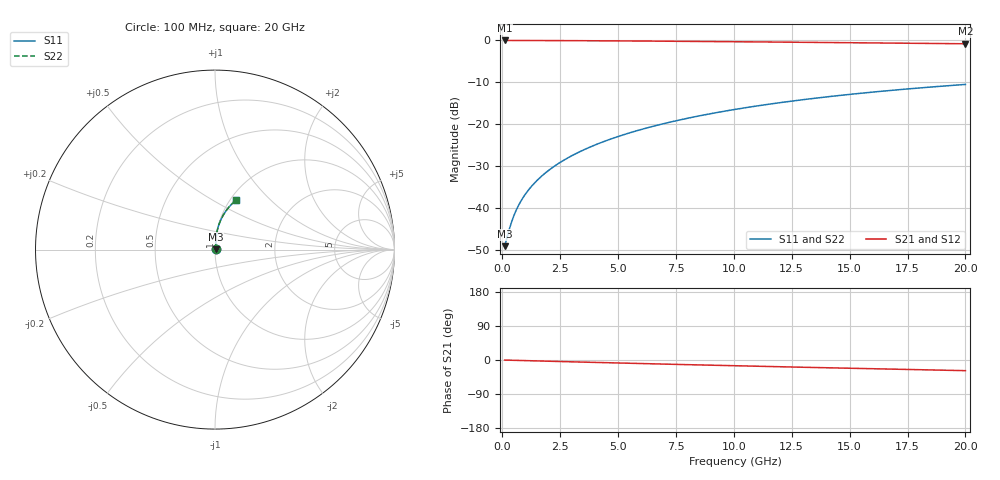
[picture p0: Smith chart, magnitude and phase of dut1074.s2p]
! Touchstone file exported from HFSS 2024.1.0
!  File:  C:/UserFiles/LocalFiles/RDL_TSV_Batchsim/temp_RDL_bottom_1074_1780052911.aedt
!  Generated:  07:11:15 PM May 29, 2026
!  Design:  RDL_bottom
!  Project:  temp_RDL_bottom_1074_1780052911
!  Setup:  Setup1
!  Solution:  Sweep
! Variables:
!  dtsv = 10.80580581um
!  hbump = 3um
!  htsv = 94.52um
!  ldown = 347.28um
!  lrdl = 100um
!  p = 40
!  p1 = 51.48um
!  rhole = 1um
!  t = 450um
!  tdown = 2.03um
!  trdl = 3.915915916um
!  wdown = 21.7um
!  wrdl = 20um
# GHz S MA R 50.000000
! Terminal data exported
! Port[1] = RDL1_T1
! Port[2] = RDL1_T2
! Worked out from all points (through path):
!   200 points, 100 MHz to 20 GHz, reference 50 ohm
!   highest |S21| = -0.03 dB at 100 MHz (marker M1); lowest = -0.8 dB at 20 GHz (marker M2)
!   group delay of S21, straight-line fit = 3.88 ps
!   lowest |S11| = -49.1 dB at 100 MHz (marker M3), VSWR 1.01, Z = 50.3 + j0.152 ohm
!   |S11| at or under -10 dB: start of sweep to end of sweep
!   |S22| runs from -49.1 to -10.5 dB; largest |S21 - S12| = 2.1e-15
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0.1  0.003517 25.4  0.9968 -0.2  0.9968 -0.2  0.003517 25.4
! Gamma 0 0 0 0
! Port Impedance 50 0 50 0
0.3  0.005561 53.4  0.9966 -0.5  0.9966 -0.5  0.005561 53.4
0.4  0.006819 60.0  0.9965 -0.7  0.9965 -0.7  0.006819 60.0
0.5  0.008116 64.4  0.9964 -0.8  0.9964 -0.8  0.008116 64.4
0.6  0.009427 67.6  0.9962 -1.0  0.9962 -1.0  0.009427 67.6
0.7  0.01074 69.9  0.9961 -1.2  0.9961 -1.2  0.01074 69.9
0.9  0.01338 73.4  0.9958 -1.5  0.9958 -1.5  0.01338 73.3
1.2  0.01735 76.7  0.9954 -2.0  0.9954 -2.0  0.01735 76.7
1.4  0.02002 78.2  0.9951 -2.3  0.9951 -2.3  0.02002 78.2
1.7  0.02406 80.0  0.9946 -2.8  0.9946 -2.8  0.02406 80.0
2.2  0.0309 81.9  0.9936 -3.6  0.9936 -3.6  0.0309 81.9
2.8  0.03927 83.3  0.9922 -4.5  0.9922 -4.5  0.03927 83.3
3.5  0.04925 84.1  0.9903 -5.6  0.9903 -5.6  0.04925 84.1
4.2  0.05945 84.5  0.9881 -6.7  0.9881 -6.7  0.05944 84.5
5  0.07135 84.6  0.9852 -7.9  0.9852 -7.9  0.07135 84.6
5.9  0.08503 84.3  0.9817 -9.2  0.9817 -9.2  0.08503 84.3
6.8  0.09895 83.7  0.9779 -10.6  0.9779 -10.6  0.09895 83.7
8.4  0.1241 82.3  0.9707 -12.9  0.9707 -12.9  0.1241 82.3
10.1  0.151 80.4  0.9625 -15.2  0.9625 -15.2  0.151 80.4
13.4  0.2025 76.1  0.9459 -19.7  0.9459 -19.7  0.2025 76.1
16.7  0.2519 71.6  0.9284 -24.0  0.9284 -24.0  0.2518 71.6
20  0.2981 67.2  0.9101 -28.1  0.9101 -28.1  0.2981 67.1
